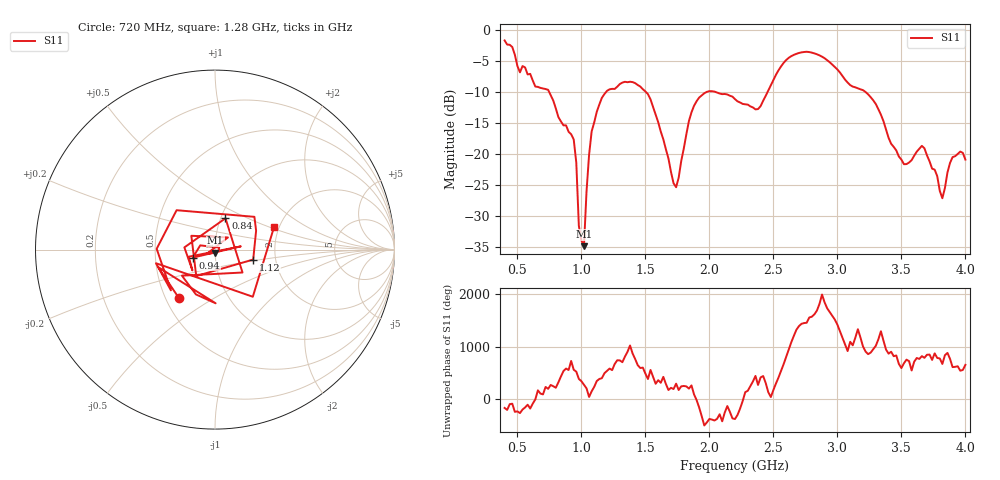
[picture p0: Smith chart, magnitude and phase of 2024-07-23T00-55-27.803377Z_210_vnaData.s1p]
!Created with skrf (http://scikit-rf.org).
# Hz S RI R 50.0
!freq ReS11 ImS11
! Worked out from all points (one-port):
!   181 points, 400 MHz to 4 GHz, reference 50 ohm
!   lowest |S11| = -34.9 dB at 1.02 GHz (marker M1), VSWR 1.04, Z = 50.1 - j1.8 ohm
!   |S11| at or under -10 dB: 749.1 MHz to 1.191 GHz (441.5 MHz wide, 45.5 % of centre); 1.507 GHz to 1.973 GHz (466.8 MHz wide, 26.8 % of centre); 3.223 GHz to end of sweep (the widest 3 of 4)
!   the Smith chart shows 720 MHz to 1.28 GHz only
!   S11 on the Smith chart (normalised r, x): 720 MHz: 0.58, -0.35; 840 MHz: 1.05, +0.38; 940 MHz: 0.78, -0.07; 1.12 GHz: 1.53, -0.18; 1.28 GHz: 1.88, +0.53
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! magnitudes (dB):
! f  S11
! 400 MHz  -1.6
! 520 MHz  -6.8
! 720 MHz  -9.5
! 840 MHz  -14.7
! 860 MHz  -15.3
! 940 MHz  -17.6
! 960 MHz  -21.4
! 980 MHz  -31.6
! 1.02 GHz  -34.9
! 1.06 GHz  -20.1
! 1.12 GHz  -13.2
! 1.28 GHz  -9.1
! 1.3 GHz  -8.7
! 1.52 GHz  -10.3
! 1.72 GHz  -24.7
! 1.76 GHz  -23.8
! 1.84 GHz  -14.6
! 1.92 GHz  -10.8
! 2.2 GHz  -11.1
! 2.38 GHz  -12.7
! 2.66 GHz  -3.9
! 3.1 GHz  -8.8
! 3.28 GHz  -11.3
! 3.56 GHz  -21.3
! 3.68 GHz  -19.1
! 3.82 GHz  -27.1
! 3.9 GHz  -20.5
! 4 GHz  -20.9
